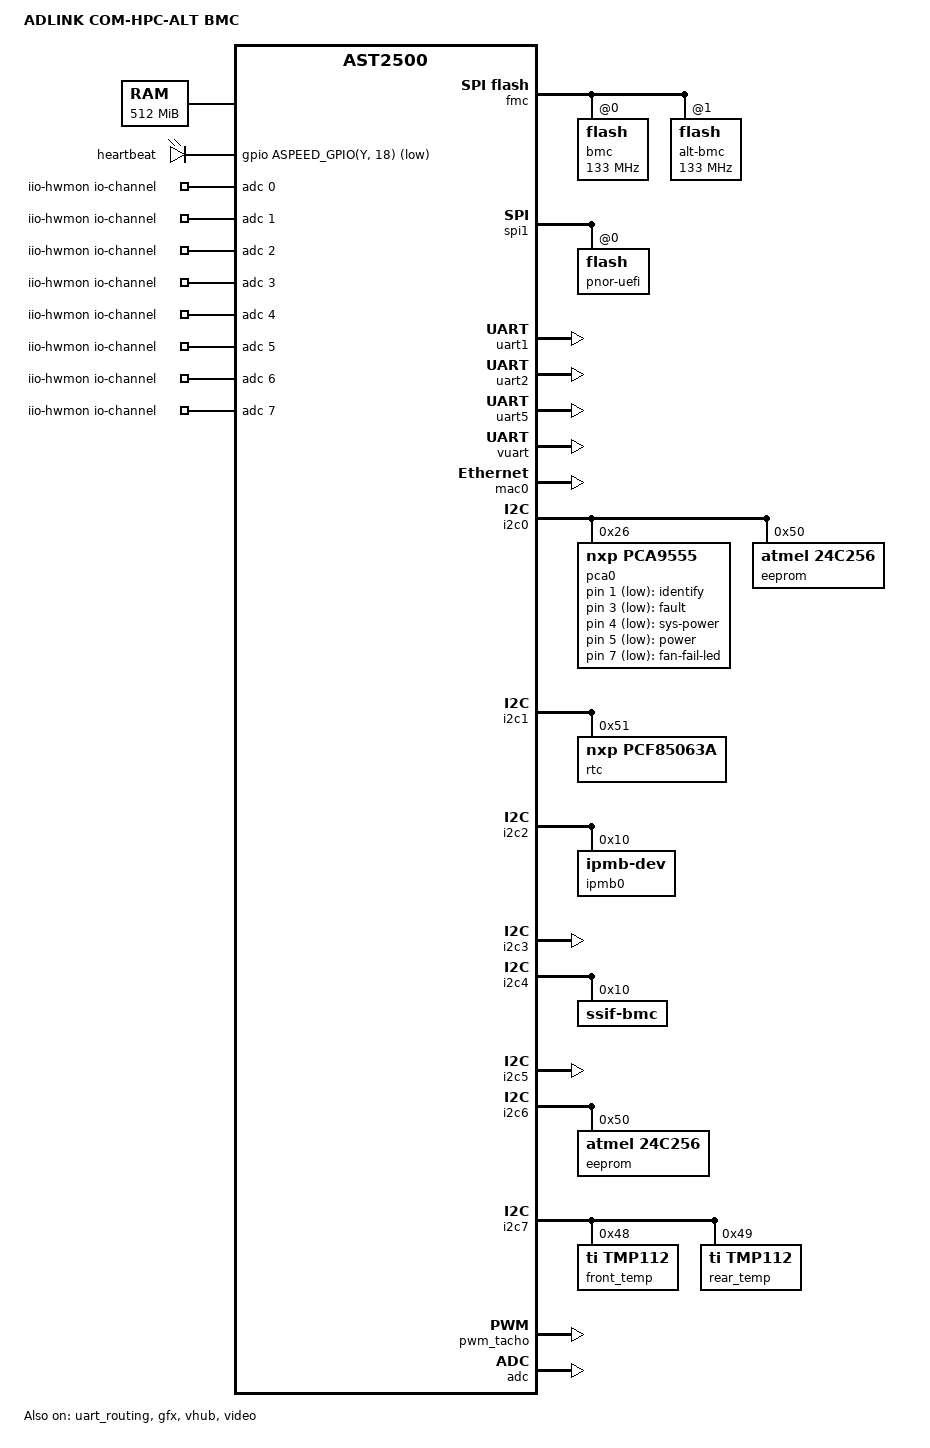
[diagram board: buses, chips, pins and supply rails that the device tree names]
// SPDX-License-Identifier: GPL-2.0+
/dts-v1/;
#include "aspeed-g5.dtsi"
#include <dt-bindings/gpio/aspeed-gpio.h>
#include <dt-bindings/leds/leds-pca955x.h>
#include <dt-bindings/gpio/gpio.h>
#include <dt-bindings/interrupt-controller/irq.h>
#include <dt-bindings/i2c/i2c.h>

/ {
	model = "ADLINK COM-HPC-ALT BMC";
	compatible = "ampere,comhpcalt-bmc", "aspeed,ast2500";

	chosen {
		stdout-path = &uart5;
		bootargs = "console=ttyS4,115200 earlycon";
	};

	memory@80000000 {
		reg = <0x80000000 0x20000000>;
	};

	reserved-memory {
		#address-cells = <1>;
		#size-cells = <1>;
		ranges;

		vga_memory: framebuffer@9f000000 {
			no-map;
			reg = <0x9f000000 0x01000000>; /* 16M */
		};

		gfx_memory: framebuffer {
			size = <0x01000000>;
			alignment = <0x01000000>;
			compatible = "shared-dma-pool";
			reusable;
		};

		video_engine_memory: jpegbuffer {
			size = <0x02000000>;	/* 32M */
			alignment = <0x01000000>;
			compatible = "shared-dma-pool";
			reusable;
		};
	};

	leds {
		compatible = "gpio-leds";

		heartbeat {
			  /* BMC_HB_LED */
                          gpios = <&gpio ASPEED_GPIO(Y, 18) GPIO_ACTIVE_LOW>;
                          linux,default-trigger = "timer";
		};

                identify {
                          /* GPO_UID_LED */
                          gpios = <&pca0 1 GPIO_ACTIVE_LOW>;
                };

                fault {
                         /* GPO_SYS_RLED */
                         gpios = <&pca0 3 GPIO_ACTIVE_LOW>;
                };

                sys-power {
                        /* GPO_SYS_GLED */
                        gpios = <&pca0 4 GPIO_ACTIVE_LOW>;
                };

                power {
                        /* GPO_PWR_LED */
                        gpios = <&pca0 5 GPIO_ACTIVE_LOW>;
                };

                fan-fail-led {
                        /* FAN_FAIL_LED */
                        gpios = <&pca0 7 GPIO_ACTIVE_LOW>;
                };
	};

	iio-hwmon {
		compatible = "iio-hwmon";

                io-channels = <&adc 0>, <&adc 1>, <&adc 2>, <&adc 3>, <&adc 4>,
                        <&adc 5>, <&adc 6>, <&adc 7>, <&adc 8>, <&adc 9>,
                        <&adc 10>, <&adc 11>, <&adc 12>, <&adc 13>;
	};
};

&fmc {
	status = "okay";
	flash@0 {
		status = "okay";
		m25p,fast-read;
		label = "bmc";
                spi-max-frequency = <133000000>;
#include "aspeed-bmc-adlink-comhpcalt-flash.dtsi"
	};

	flash@1 {
		status = "okay";
		m25p,fast-read;
		label = "alt-bmc";
                spi-max-frequency = <133000000>;
#include "aspeed-bmc-adlink-comhpcalt-flash-alt.dtsi"
	};
};

&spi1 {
	status = "okay";
	pinctrl-names = "default";
	pinctrl-0 = <&pinctrl_spi1_default>;

	flash@0 {
		status = "okay";
		w25q;
		label = "pnor-uefi";
	};
};

&uart1 {
        status = "okay";
        pinctrl-names = "default";
        pinctrl-0 = <&pinctrl_txd1_default
                &pinctrl_rxd1_default
                &pinctrl_nrts1_default
                &pinctrl_ndtr1_default
                &pinctrl_ndsr1_default
                &pinctrl_ncts1_default
                &pinctrl_ndcd1_default
                &pinctrl_nri1_default>;
};

&uart2 {
        status = "okay";
        pinctrl-names = "default";
        pinctrl-0 = <&pinctrl_txd2_default
                         &pinctrl_rxd2_default
                         &pinctrl_ncts2_default
                         &pinctrl_nrts2_default>;
};

&uart3 {
        status = "disabled";
};

&uart4 {
        status = "disabled";
};

&uart5 {
        status = "okay";
};

&uart_routing {
        status = "okay";
};

&vuart {
	status = "okay";
};

&mac0 {
	status = "okay";
	pinctrl-names = "default";
	pinctrl-0 = <&pinctrl_rmii1_default>;
	clocks = <&syscon ASPEED_CLK_GATE_MAC1CLK>,
		 <&syscon ASPEED_CLK_MAC1RCLK>;
	clock-names = "MACCLK", "RCLK";
	use-ncsi;
};

&mac1 {
	status = "disabled";
};

&i2c0 {
        status = "okay";

        // This bus has a connection to the host

        pca0: pca9555@26 {
                compatible = "nxp,pca9555";
                reg = <0x26>;
                #address-cells = <1>;
                #size-cells = <0>;
                gpio-controller;
                #gpio-cells = <2>;

                gpio-line-names = "bmc-ok", "",
                                  "_identify-button", "",
                                  "", "",
                                  "RS_UID_BUT_P", "";

                // I2C0_BMC_RDY_N
                gpio@0 {
                        reg = <0>;
                        type = <PCA955X_TYPE_GPIO>;
                };

                // UID_BUT_P
                gpio@2 {
                        reg = <2>;
                        type = <PCA955X_TYPE_GPIO>;
                };

                // GPO_SYS_GLED
                led@4 {
                        reg = <4>;
                        type = <PCA955X_TYPE_LED>;
                };

                // RS_UID_BUT_P
                gpio@6 {
                        reg = <6>;
                        type = <PCA955X_TYPE_GPIO>;
                };
        };

        eeprom@50 { 
                compatible = "atmel,24c256";
                reg = <0x50>;
        };
};

&i2c1 {
        status = "okay";

        rtc@51 {
                compatible = "nxp,pcf85063a";
                reg = <0x51>;
        };
};

&i2c2 {
        status = "okay";
        multi-master;

        // MMC BMC is at 0x41.
        // Listen for responses at 0x10
        ipmb0@10 {
                compatible = "ipmb-dev";
                reg = <0x10>;
                i2c-protocol;
        };
};

&i2c3 {
        status = "okay";
};

&i2c4 {
        status = "okay";

        // This bus has a connection to the host

        ssif-bmc@10 {
                compatible = "ssif-bmc";
                reg = <0x10>;
        };
};

&i2c5 {
        status = "okay";
};

&i2c6 {
	status = "okay";

        eeprom@50 {
                compatible = "atmel,24c256";
                reg = <0x50>;
        };
};

&i2c7 {
        status = "okay";

        front_temp: tmp112@48 {
                compatible = "ti,tmp112";
                reg = <0x48>;
        };

        rear_temp: tmp112@49 {
                compatible = "ti,tmp112";
                reg = <0x49>;
        };
};

&i2c8 {
        status = "disabled";
};

&i2c9 {
        status = "disabled";
};

&i2c10 {
        status = "disabled";
};

&i2c11 {
        status = "disabled";
};

&i2c12 {
        status = "disabled";
};

&i2c13 {
        status = "disabled";
};

&gfx {
        status = "okay";
        memory-region = <&gfx_memory>;
};

&pinctrl {
        aspeed,external-nodes = <&gfx &lhc>;
};

&pwm_tacho {
        status = "okay";
        pinctrl-names = "default";
        pinctrl-0 = <&pinctrl_pwm0_default &pinctrl_pwm1_default
                        &pinctrl_pwm3_default
                        &pinctrl_pwm4_default>;

        fan@0 {
                reg = <0x00>;
                aspeed,fan-tach-ch = /bits/ 8 <0x00>;
        };

        fan@1 {
                reg = <0x01>;
                aspeed,fan-tach-ch = /bits/ 8 <0x01>;
        };

        fan@3 {
                reg = <0x03>;
                aspeed,fan-tach-ch = /bits/ 8 <0x03>;
        };

        fan@4 {
                reg = <0x04>;
                aspeed,fan-tach-ch = /bits/ 8 <0x04>;
        };
};

&vhub {
        status = "okay";
};

&adc {
        status = "okay";
        pinctrl-names = "default";
        pinctrl-0 = <&pinctrl_adc0_default
                        &pinctrl_adc1_default
                        &pinctrl_adc2_default
                        &pinctrl_adc3_default
                        &pinctrl_adc4_default
                        &pinctrl_adc5_default
                        &pinctrl_adc6_default
                        &pinctrl_adc7_default
                        &pinctrl_adc8_default
                        &pinctrl_adc9_default
                        &pinctrl_adc10_default
                        &pinctrl_adc11_default
                        &pinctrl_adc12_default
			&pinctrl_adc13_default>;
};

&video {
        status = "okay";
        memory-region = <&video_engine_memory>;
};

&gpio {
	/* NOTE: there isn't a MUX to switch between carrier and module EEPROM, so pick an unused line for
	         spi0-backup-sel */
        gpio-line-names =
        /*A0-A7*/       "MAC1LINK","MAC2LINK","TIMER3_SPI1CS1","TIMER4","TIMER5_SCL9","TIMER6_SDA9","","",
        /*B0-B7*/       "","","","","USBCKI","LPCPD_LPCSMI","LPCPME","",
        /*C0-C7*/       "SD1CLK_SCL10","SD1CMD_SDA10","SD1DAT0_SCL11","SD1DAT1_SDA11","SD1DAT2_SCL12","SD1DAT3_SDA12","SD1CD_SCL13","SD1WP_SDA13",
        /*D0-D7*/       "SD2CLK","SD2CMD","SD2DAT0","SD2DAT1","SD2DAT2","SD2DAT3","SD2CD","SD2WP",
        /*E0-E7*/       "reset-button","NDCD3","NDSR3","NRI3","power-chassis-good","NRTS3","TXD3","RXD3",
        /*F0-F7*/       "NCTS4_LHAD0","NDCD5_LHAD1","NDSR4_LDAD2","NRI4_LHAD3","NDTR4_LHCLK","NRTS4_LHFRAME","TXD4_LHSRQ","RXD4_LSRST",
        /*G0-G7*/       "","","","","","","","",
        /*H0-H7*/       "spi0-program-sel","NDCD6","NDSR6","NRI6","NDTR6","NRTS6","TXD6","RXD6",
        /*I0-I7*/       "","","","","","","","",
        /*J0-J7*/       "","","","","","","","",
        /*K0-K7*/       "SCL5","SDA5","SCL6","SDA6","SCL7","SDA5","SCL8","SDA8",
        /*L0-L7*/       "NCTS1","NDCD1_VPIDE","NDSR1","NRI1_VPIHS","NDTR1_VPIVS","NRTS1_VPICLK","TXD1","RXD1",
        /*M0-M7*/       "NCTS2_VPIB2","NDCD2_VPIB3","NDCR2_VPIB4","NRI2_VPIB5","NDTR2_VPIB6","NRTS2_VPIB7","TXD2_VPIB8","RXD2_VPIB9",
        /*N0-N7*/       "PWM0","PWM1","PWM2_VPIG2","PWM3_VPIG3","PWM4_VPIG4","PWM5_VPIG5","PWM6_VPIG6","PWM7_VPIG7",
        /*O0-O7*/       "TACH0_VPIG8","TACH1_VPIG9","TACH2","TACH3","TACH4_VPIR2","TACH5_VPIR3","TACH6_VPIR4","TACH7_VPIR5",
        /*P0-P7*/       "TACH8_VPIR6","TACH9_VPIR7","TACH10_VPIR8","TACH11_VPIR9","TACH12","spi0-backup-sel","TACH14","bmc-ready",
        /*Q0-Q7*/       "SCL3","SDA3","SCL4","SDA4","SCL14","SDA14","OSCCLK","PEWAKE",
        /*R0-R7*/       "FWSPICS1","FWSPICS2","SPI2CS0","SPI2CK","SPI2MOSI","SPI2MISO","","",
        /*S0-S7*/       "VPOB2_SPI2CS1","VPOB2_BMCINT","VPOB4_SALT5","VPOB5_SALT6","VPOB6","VPO7","VPO8","VPO9",
        /*T0-T7*/       "","","","","","","","",
        /*U0-U7*/       "","","","","","","","",
        /*V0-V7*/       "","","","","","","","",
        /*W0-W7*/       "ADC0","ADC1","ADC2","ADC3","ADC4","ADC5","ADC6","ADC7",
        /*X0-X7*/       "ADC8","ADC9","ADC10","ADC11","ADC12","ADC13","ADC14","ADC15",
        /*Y0-Y7*/       "SIOS3","SIOS5","SIOPWREQ","SIOONCTRL","SCL1","SDA1","SCL2","SDA2",
        /*Z0-Z7*/       "VPOG2_NORA0_SIOPBI","VPOG3_NORA1_SIOPWRGD","power-chassis-control","VPO5_NORA3_SIOSCI","VPOG6_NORA4","VPOG7_NORA5","VPOG8_NORA6","VPOG9_NORA7",
        /*AA0-AA7*/     "VPOR2_NORD0_SALT7","VPOR3_NORD1_SALT8","VPOR4_NORD2_SALT9","VPOR5_NORD3_SALT10","VPOR6_NORD4_SALT11","VPOR7_NORD5_SALT12","VPOR8_NORD6_SALT13","VPOR9_NORD7_SALT14",
        /*AB0-AB7*/     "VPODE_NOREO","VPOHS_NORWE","VPOVS_WDTRST1","VPOCLK_WDTRST2","","","","",
        /*AC0-AC7*/     "ESPID0_LAD0","ESPID1_LAD1","ESPI2_LAD2","ESPI3_LAD3","ESPICK_LCLK","ESPICS_LFRAME","ESPIALT_LSIRQ","ESPIRST_LPCRST";
};
